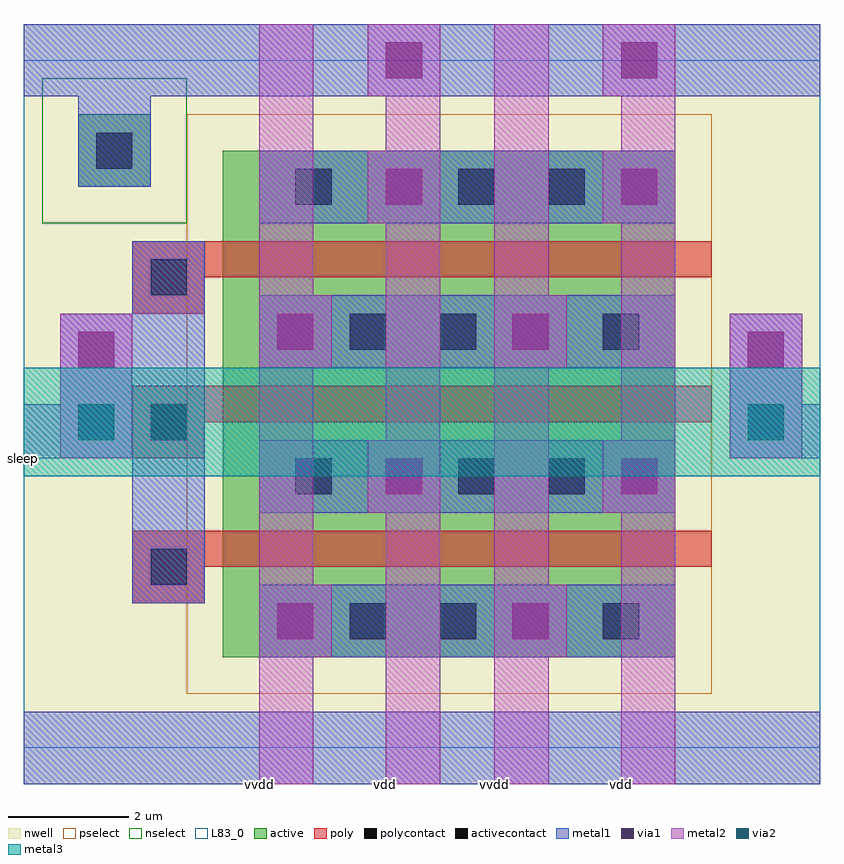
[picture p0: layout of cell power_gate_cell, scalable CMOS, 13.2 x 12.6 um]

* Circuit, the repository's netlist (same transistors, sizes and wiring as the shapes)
.SUBCKT power_gate_cell sleep vvdd vdd
M0 vvdd sleep vdd vdd p l=0.6u w=7.5u m=3
.ENDS power_gate_cell

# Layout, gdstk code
import gdstk
lib = gdstk.Library(unit=1e-6, precision=1e-09)
def R(c, l, rs):  # rectangles x0, y0, x1, y1
    for r in rs: c.add(gdstk.rectangle(r[:2], r[2:], *l))
def A(c, l, x, y, w, h, nx, ny, dx, dy):  # array of equal rectangles
    R(c, l, [(x+i*dx, y+j*dy, x+i*dx+w, y+j*dy+h) for i in range(nx) for j in range(ny)])
nwell = (42, 0)
active = (43, 0)
pselect = (44, 0)
nselect = (45, 0)
poly = (46, 0)
polycontact = (47, 0)
activecontact = (48, 0)
metal1 = (49, 0)
via1 = (50, 0)
metal2 = (51, 0)
via2 = (61, 0)
metal3 = (62, 0)
L83_0 = (83, 0)

power_gate_cell = lib.new_cell('power_gate_cell')
R(power_gate_cell, nwell, [(0,-0.6,13.2,12)])
R(power_gate_cell, active, [(3.3,1.5,10.8,9.9), (0.9,9.3,2.1,10.5)])
R(power_gate_cell, pselect, [(2.7,0.9,11.4,10.5)])
R(power_gate_cell, nselect, [(0.3,8.7,2.7,11.1)])
A(power_gate_cell, poly, 1.8, 2.4, 1.2, 0.6, 1, 3, 0, 2.4)
A(power_gate_cell, poly, 1.8, 3, 9.6, 0.6, 1, 3, 0, 2.4)
A(power_gate_cell, polycontact, 2.1, 2.7, 0.6, 0.6, 1, 3, 0, 2.4)
R(power_gate_cell, activecontact, [(5.4,1.8,6,2.4), (6.9,1.8,7.5,2.4), (9.6,1.8,10.2,2.4), (4.5,4.2,5.1,4.8), (7.2,4.2,7.8,4.8), (8.7,4.2,9.3,4.8), (5.4,6.6,6,7.2), (6.9,6.6,7.5,7.2), (9.6,6.6,10.2,7.2), (4.5,9,5.1,9.6), (7.2,9,7.8,9.6), (8.7,9,9.3,9.6), (1.2,9.6,1.8,10.2)])
A(power_gate_cell, metal1, 3.9, 1.5, 6.9, 1.2, 1, 4, 0, 2.4)
R(power_gate_cell, metal1, [(0,-0.6,13.2,0.6), (1.8,2.4,3,4.8), (0,4.8,3,5.7), (11.7,4.8,13.2,5.7), (0.6,5.7,3,7.2), (11.7,5.7,12.9,7.2), (1.8,7.2,3,8.4), (0.9,9.3,2.1,10.8), (0,10.8,13.2,12)])
R(power_gate_cell, via1, [(4.2,1.8,4.8,2.4), (8.1,1.8,8.7,2.4), (6,4.2,6.6,4.8), (9.9,4.2,10.5,4.8), (0.9,6.3,1.5,6.9), (12,6.3,12.6,6.9), (4.2,6.6,4.8,7.2), (8.1,6.6,8.7,7.2), (6,9,6.6,9.6), (9.9,9,10.5,9.6), (6,11.1,6.6,11.7), (9.9,11.1,10.5,11.7)])
R(power_gate_cell, metal2, [(3.9,-0.6,4.8,1.5), (6,-0.6,6.9,3.9), (7.8,-0.6,8.7,1.5), (9.9,-0.6,10.8,3.9), (3.9,1.5,5.1,2.7), (7.8,1.5,9,2.7), (3.9,2.7,4.8,6.3), (7.8,2.7,8.7,6.3), (5.7,3.9,6.9,5.1), (9.6,3.9,10.8,5.1), (0.6,4.8,1.8,7.2), (11.7,4.8,12.9,7.2), (6,5.1,6.9,8.7), (9.9,5.1,10.8,8.7), (3.9,6.3,5.1,7.5), (7.8,6.3,9,7.5), (3.9,7.5,4.8,12), (7.8,7.5,8.7,12), (5.7,8.7,6.9,9.9), (9.6,8.7,10.8,9.9), (6,9.9,6.9,10.8), (9.9,9.9,10.8,10.8), (5.7,10.8,6.9,12), (9.6,10.8,10.8,12)])
R(power_gate_cell, via2, [(0.9,5.1,1.5,5.7), (12,5.1,12.6,5.7)])
R(power_gate_cell, metal3, [(0,4.5,13.2,6.3)])
R(power_gate_cell, L83_0, [(0,0,13.2,11.4)])
power_gate_cell.add(gdstk.Label('sleep', (0,4.8), layer=49, texttype=0))
power_gate_cell.add(gdstk.Label('vvdd', (3.9,-0.6), layer=51, texttype=0))
power_gate_cell.add(gdstk.Label('vdd', (6,-0.6), layer=51, texttype=0))
power_gate_cell.add(gdstk.Label('vvdd', (7.8,-0.6), layer=51, texttype=0))
power_gate_cell.add(gdstk.Label('vdd', (9.9,-0.6), layer=51, texttype=0))

lib.write_gds('power_gate_cell.gds')
